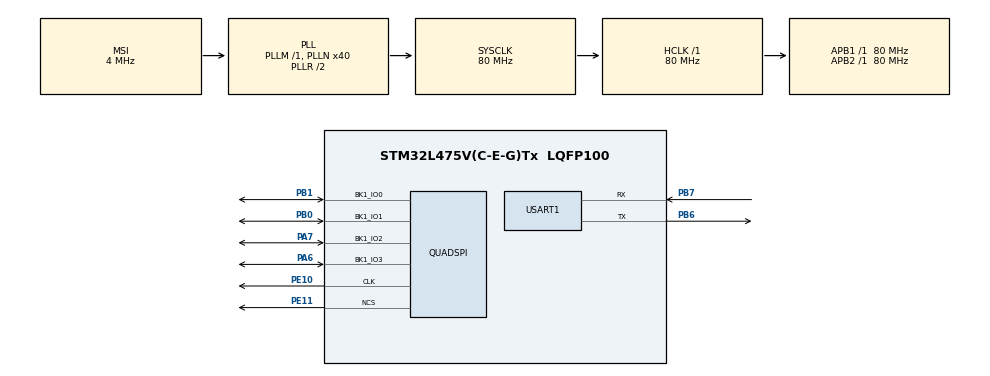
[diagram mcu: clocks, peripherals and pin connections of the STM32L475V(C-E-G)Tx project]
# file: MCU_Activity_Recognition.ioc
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Mcu.Family=STM32L4
Mcu.Name=STM32L475V(C-E-G)Tx
Mcu.Package=LQFP100
NVIC.PriorityGroup=NVIC_PRIORITYGROUP_4
PA6.Mode=Single Bank
PA6.Signal=QUADSPI_BK1_IO3
PA7.Mode=Single Bank
PA7.Signal=QUADSPI_BK1_IO2
PB0.Mode=Single Bank
PB0.Signal=QUADSPI_BK1_IO1
PB1.Mode=Single Bank
PB1.Signal=QUADSPI_BK1_IO0
PB6.Mode=Asynchronous
PB6.Signal=USART1_TX
PB7.GPIO_PuPd=GPIO_PULLUP
PB7.Mode=Asynchronous
PB7.Signal=USART1_RX
PE10.Mode=Single Bank
PE10.Signal=QUADSPI_CLK
PE11.Mode=Single Bank
PE11.Signal=QUADSPI_NCS
ProjectManager.HeapSize=0x800
ProjectManager.StackSize=0x800
ProjectManager.TargetToolchain=STM32CubeIDE
RCC.ADCFreq_Value=48000000
RCC.AHBFreq_Value=80000000
RCC.APB1Freq_Value=80000000
RCC.APB1TimFreq_Value=80000000
RCC.APB2Freq_Value=80000000
RCC.APB2TimFreq_Value=80000000
RCC.CortexFreq_Value=80000000
RCC.HCLKFreq_Value=80000000
RCC.HSE_VALUE=8000000
RCC.HSI_VALUE=16000000
RCC.LSE_VALUE=32768
RCC.MSI_VALUE=4000000
RCC.PLLN=40
RCC.PLLSAI1N=24
RCC.SYSCLKFreq_VALUE=80000000
RCC.SYSCLKSource=RCC_SYSCLKSOURCE_PLLCLK
RCC.USBFreq_Value=48000000
RCC.VCOOutputFreq_Value=160000000
STMicroelectronics.X-CUBE-AI.7.0.0.ActivationBufferSizeList=328
STMicroelectronics.X-CUBE-AI.7.0.0.ApplicationCcDeviceJjApplication=ApplicationTemplate
STMicroelectronics.X-CUBE-AI.7.0.0.HeapSize=0x800
STMicroelectronics.X-CUBE-AI.7.0.0.InternalRamActivationBufferMaxSize=AI_NETWORK_DATA_ACTIVATIONS_SIZE
STMicroelectronics.X-CUBE-AI.7.0.0.LatestDirectoryUsed-932141beb73fe943842963f118f2f7ff9cd746c63224e5a99901ec7574b5b746=C\:\\Users\\seony\\Downloads
STMicroelectronics.X-CUBE-AI.7.0.0.MaximumNumberOfInputLayer=1
STMicroelectronics.X-CUBE-AI.7.0.0.MaximumNumberOfOutputLayer=1
STMicroelectronics.X-CUBE-AI.7.0.0.MaximumSizeOfInputLayer=AI_NETWORK_IN_1_SIZE_BYTES
STMicroelectronics.X-CUBE-AI.7.0.0.MaximumSizeOfOutputLayer=AI_NETWORK_OUT_1_SIZE_BYTES
STMicroelectronics.X-CUBE-AI.7.0.0.ModelActualCompression-932141beb73fe943842963f118f2f7ff9cd746c63224e5a99901ec7574b5b746=0.0
STMicroelectronics.X-CUBE-AI.7.0.0.ModelCompression-932141beb73fe943842963f118f2f7ff9cd746c63224e5a99901ec7574b5b746=1
STMicroelectronics.X-CUBE-AI.7.0.0.ModelFlashOccupation-932141beb73fe943842963f118f2f7ff9cd746c63224e5a99901ec7574b5b746=6368
STMicroelectronics.X-CUBE-AI.7.0.0.ModelHashList=932141beb73fe943842963f118f2f7ff9cd746c63224e5a99901ec7574b5b746
STMicroelectronics.X-CUBE-AI.7.0.0.ModelKind-932141beb73fe943842963f118f2f7ff9cd746c63224e5a99901ec7574b5b746=KERAS
STMicroelectronics.X-CUBE-AI.7.0.0.ModelMacc-932141beb73fe943842963f118f2f7ff9cd746c63224e5a99901ec7574b5b746=1672
STMicroelectronics.X-CUBE-AI.7.0.0.ModelName-932141beb73fe943842963f118f2f7ff9cd746c63224e5a99901ec7574b5b746=network
STMicroelectronics.X-CUBE-AI.7.0.0.ModelNameList=network
STMicroelectronics.X-CUBE-AI.7.0.0.ModelRamOccupation-932141beb73fe943842963f118f2f7ff9cd746c63224e5a99901ec7574b5b746=328
STMicroelectronics.X-CUBE-AI.7.0.0.ModelStructureFile-932141beb73fe943842963f118f2f7ff9cd746c63224e5a99901ec7574b5b746=C\:\\Users\\seony\\Downloads\\feature_mlp.h5
STMicroelectronics.X-CUBE-AI.7.0.0.ModelType-932141beb73fe943842963f118f2f7ff9cd746c63224e5a99901ec7574b5b746=Saved model
STMicroelectronics.X-CUBE-AI.7.0.0.ReadyForCodeGeneration=true
STMicroelectronics.X-CUBE-AI.7.0.0.StackSize=0x800
STMicroelectronics.X-CUBE-AI.7.0.0.ValidationInputFile-932141beb73fe943842963f118f2f7ff9cd746c63224e5a99901ec7574b5b746=C\:\\Users\\seony\\Downloads\\test.npy
STMicroelectronics.X-CUBE-AI.7.0.0.ValidationInputFileHistory-932141beb73fe943842963f118f2f7ff9cd746c63224e5a99901ec7574b5b746=C\:\\Users\\seony\\Downloads\\test.npy
STMicroelectronics.X-CUBE-AI.7.0.0.ValidationOutputFile-932141beb73fe943842963f118f2f7ff9cd746c63224e5a99901ec7574b5b746=C\:\\Users\\seony\\Downloads\\test_out.npy
STMicroelectronics.X-CUBE-AI.7.0.0.ValidationOutputFileHistory-932141beb73fe943842963f118f2f7ff9cd746c63224e5a99901ec7574b5b746=C\:\\Users\\seony\\Downloads\\test_out.npy
STMicroelectronics.X-CUBE-AI.7.0.0.WorkingBufferStartAddrList=0xFFFFFFFF
STMicroelectronics.X-CUBE-AI.7.0.0.XAaCUBEAaAICcArtificialOoIntelligenceJjCore=true
USART1.VirtualMode-Asynchronous=VM_ASYNC
VP_CRC_VS_CRC.Mode=CRC_Activate
VP_STMicroelectronics.X-CUBE-AI_VS_ArtificialOoIntelligenceJjXAaCUBEAaAI_7.0.0.Mode=ArtificialOoIntelligenceJjXAaCUBEAaAI
VP_STMicroelectronics.X-CUBE-AI_VS_DeviceJjApplication_7.0.0.Mode=DeviceJjApplication
board=B-L475E-IOT01A2

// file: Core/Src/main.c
/* USER CODE BEGIN Header */
/**
  ******************************************************************************
  * @file           : main.c
  * @brief          : Main program body
  ******************************************************************************
  * @attention
  *
  * Copyright (c) 2021 STMicroelectronics.
  * All rights reserved.
  *
  * This software is licensed under terms that can be found in the LICENSE file
  * in the root directory of this software component.
  * If no LICENSE file comes with this software, it is provided AS-IS.
  *
  ******************************************************************************
  */
/* USER CODE END Header */
#include "main.h"
#include "app_x-cube-ai.h"

/* USER CODE BEGIN Includes */
#include <stdio.h>

#include "stm32l475e_iot01.h"
#include "stm32l475e_iot01_accelero.h"
/* USER CODE END Includes */

CRC_HandleTypeDef hcrc;

QSPI_HandleTypeDef hqspi;

UART_HandleTypeDef huart1;

void SystemClock_Config(void);
static void MX_GPIO_Init(void);
static void MX_CRC_Init(void);
static void MX_QUADSPI_Init(void);

int main(void)
{

  /* MCU Configuration--------------------------------------------------------*/

  /* Reset of all peripherals, Initializes the Flash interface and the Systick. */
  HAL_Init();

  /* Configure the system clock */
  SystemClock_Config();

  /* Initialize all configured peripherals */
  MX_GPIO_Init();
  MX_CRC_Init();
  MX_QUADSPI_Init();
  MX_X_CUBE_AI_Init();
  /* USER CODE BEGIN 2 */
  MX_USART1_UART_Init();

  /* Configure the User LED and the accelerometer	*/
  BSP_ACCELERO_Init();
  BSP_LED_Init(LED2);

  /* Configure the User Button in GPIO Mode */
  BSP_PB_Init(BUTTON_USER, BUTTON_MODE_GPIO);

  while(BSP_PB_GetState(BUTTON_USER) == GPIO_PIN_RESET);
  while(BSP_PB_GetState(BUTTON_USER) == GPIO_PIN_SET);
  BSP_LED_On(LED2);
  /* USER CODE END 2 */

  /* Infinite loop */
  while (1)
  {
    MX_X_CUBE_AI_Process();
  }
}

void SystemClock_Config(void)
{
  RCC_OscInitTypeDef RCC_OscInitStruct = {0};
  RCC_ClkInitTypeDef RCC_ClkInitStruct = {0};

  /** Configure the main internal regulator output voltage
  */
  if (HAL_PWREx_ControlVoltageScaling(PWR_REGULATOR_VOLTAGE_SCALE1) != HAL_OK)
  {
    Error_Handler();
  }
  /** Initializes the RCC Oscillators according to the specified parameters
  * in the RCC_OscInitTypeDef structure.
  */
  RCC_OscInitStruct.OscillatorType = RCC_OSCILLATORTYPE_MSI;
  RCC_OscInitStruct.MSIState = RCC_MSI_ON;
  RCC_OscInitStruct.MSICalibrationValue = 0;
  RCC_OscInitStruct.MSIClockRange = RCC_MSIRANGE_6;
  RCC_OscInitStruct.PLL.PLLState = RCC_PLL_ON;
  RCC_OscInitStruct.PLL.PLLSource = RCC_PLLSOURCE_MSI;
  RCC_OscInitStruct.PLL.PLLM = 1;
  RCC_OscInitStruct.PLL.PLLN = 40;
  RCC_OscInitStruct.PLL.PLLP = RCC_PLLP_DIV7;
  RCC_OscInitStruct.PLL.PLLQ = RCC_PLLQ_DIV2;
  RCC_OscInitStruct.PLL.PLLR = RCC_PLLR_DIV2;
  if (HAL_RCC_OscConfig(&RCC_OscInitStruct) != HAL_OK)
  {
    Error_Handler();
  }
  /** Initializes the CPU, AHB and APB buses clocks
  */
  RCC_ClkInitStruct.ClockType = RCC_CLOCKTYPE_HCLK|RCC_CLOCKTYPE_SYSCLK
                              |RCC_CLOCKTYPE_PCLK1|RCC_CLOCKTYPE_PCLK2;
  RCC_ClkInitStruct.SYSCLKSource = RCC_SYSCLKSOURCE_PLLCLK;
  RCC_ClkInitStruct.AHBCLKDivider = RCC_SYSCLK_DIV1;
  RCC_ClkInitStruct.APB1CLKDivider = RCC_HCLK_DIV1;
  RCC_ClkInitStruct.APB2CLKDivider = RCC_HCLK_DIV1;

  if (HAL_RCC_ClockConfig(&RCC_ClkInitStruct, FLASH_LATENCY_4) != HAL_OK)
  {
    Error_Handler();
  }
}

static void MX_CRC_Init(void)
{

  hcrc.Instance = CRC;
  hcrc.Init.DefaultPolynomialUse = DEFAULT_POLYNOMIAL_ENABLE;
  hcrc.Init.DefaultInitValueUse = DEFAULT_INIT_VALUE_ENABLE;
  hcrc.Init.InputDataInversionMode = CRC_INPUTDATA_INVERSION_NONE;
  hcrc.Init.OutputDataInversionMode = CRC_OUTPUTDATA_INVERSION_DISABLE;
  hcrc.InputDataFormat = CRC_INPUTDATA_FORMAT_BYTES;
  if (HAL_CRC_Init(&hcrc) != HAL_OK)
  {
    Error_Handler();
  }

}

static void MX_QUADSPI_Init(void)
{

  /* QUADSPI parameter configuration*/
  hqspi.Instance = QUADSPI;
  hqspi.Init.ClockPrescaler = 255;
  hqspi.Init.FifoThreshold = 1;
  hqspi.Init.SampleShifting = QSPI_SAMPLE_SHIFTING_NONE;
  hqspi.Init.FlashSize = 1;
  hqspi.Init.ChipSelectHighTime = QSPI_CS_HIGH_TIME_1_CYCLE;
  hqspi.Init.ClockMode = QSPI_CLOCK_MODE_0;
  if (HAL_QSPI_Init(&hqspi) != HAL_OK)
  {
    Error_Handler();
  }

}

void MX_USART1_UART_Init(void)
{

  huart1.Instance = USART1;
  huart1.Init.BaudRate = 115200;
  huart1.Init.WordLength = UART_WORDLENGTH_8B;
  huart1.Init.StopBits = UART_STOPBITS_1;
  huart1.Init.Parity = UART_PARITY_NONE;
  huart1.Init.Mode = UART_MODE_TX_RX;
  huart1.Init.HwFlowCtl = UART_HWCONTROL_NONE;
  huart1.Init.OverSampling = UART_OVERSAMPLING_16;
  huart1.Init.OneBitSampling = UART_ONE_BIT_SAMPLE_DISABLE;
  huart1.AdvancedInit.AdvFeatureInit = UART_ADVFEATURE_NO_INIT;
  if (HAL_UART_Init(&huart1) != HAL_OK)
  {
    Error_Handler();
  }

}

static void MX_GPIO_Init(void)
{

  /* GPIO Ports Clock Enable */
  __HAL_RCC_GPIOA_CLK_ENABLE();
  __HAL_RCC_GPIOB_CLK_ENABLE();
  __HAL_RCC_GPIOE_CLK_ENABLE();

}

/* USER CODE BEGIN 4 */
/**
  * @brief Retargets the C library msg_info function to the USART.
  * @param None
  * @retval None
  */
int __io_putchar(int ch)
{
  while (HAL_OK != HAL_UART_Transmit(&huart1, (uint8_t *) &ch, 1, 30000))
  {
    ;
  }
  return ch;
}

/**
  * @brief Retargets the C library scanf function to the USART.
  * @param None
  * @retval None
  */
int __io_getchar()
{
  uint8_t ch = 0;
  while (HAL_OK != HAL_UART_Receive(&huart1, (uint8_t *)&ch, 1, 30000))
  {
    ;
  }
  return ch;
}
/* USER CODE END 4 */

void Error_Handler(void)
{
  __disable_irq();
  while (1)
  {
  }
}
